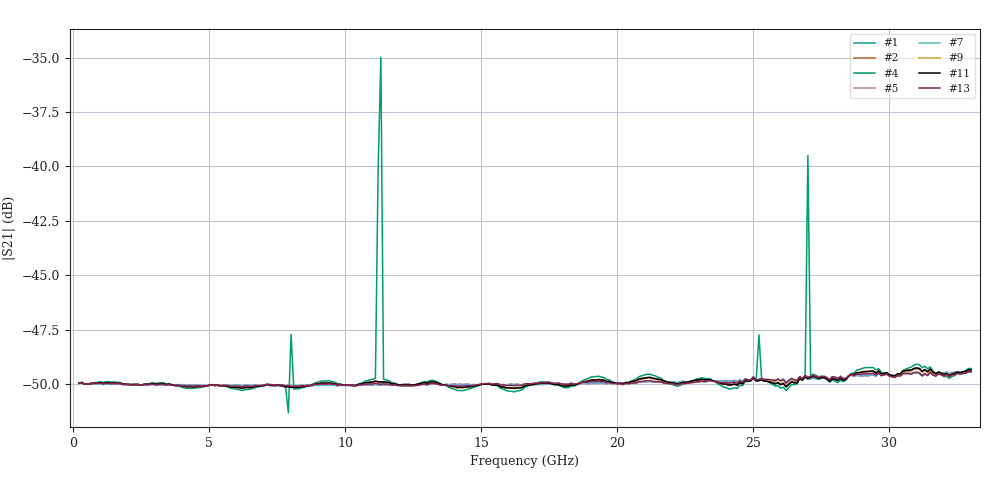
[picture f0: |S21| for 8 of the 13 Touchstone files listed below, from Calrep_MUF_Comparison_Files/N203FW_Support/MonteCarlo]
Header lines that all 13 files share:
# GHZ S RI R 50
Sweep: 200 MHz to 33 GHz
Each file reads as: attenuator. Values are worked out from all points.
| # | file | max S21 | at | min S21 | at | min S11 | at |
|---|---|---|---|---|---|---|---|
| 1 | N203FW_75.s2p | -49.43 dB | 32.5 GHz | -50.1 dB | 6.2 GHz | -47.6 dB | 2.4 GHz |
| 2 | N203FW_76.s2p | -49.26 dB | 31 GHz | -50.2 dB | 16.2 GHz | -47.0 dB | 2.5 GHz |
| 3 | N203FW_77.s2p | -49.40 dB | 31 GHz | -50.1 dB | 6.2 GHz | -47.3 dB | 2.4 GHz |
| 4 | N203FW_79.s2p | -34.98 dB | 11.3 GHz | -51.3 dB | 7.9 GHz | -48.2 dB | 700 MHz |
| 5 | N203FW_80.s2p | -49.42 dB | 32.5 GHz | -50.1 dB | 7.4 GHz | -48.0 dB | 2.3 GHz |
| 6 | N203FW_84.s2p | -49.45 dB | 32.5 GHz | -50.2 dB | 11.3 GHz | -48.8 dB | 2.3 GHz |
| 7 | N203FW_85.s2p | -49.42 dB | 32.5 GHz | -50.1 dB | 6.2 GHz | -47.8 dB | 2.3 GHz |
| 8 | N203FW_90.s2p | -49.42 dB | 32.5 GHz | -50.1 dB | 7.4 GHz | -48.0 dB | 2.3 GHz |
| 9 | N203FW_91.s2p | -49.30 dB | 31 GHz | -50.2 dB | 6.2 GHz | -47.3 dB | 2.5 GHz |
| 10 | N203FW_94.s2p | -49.45 dB | 32.5 GHz | -50.2 dB | 11.3 GHz | -48.5 dB | 2.3 GHz |
| 11 | N203FW_96.s2p | -49.26 dB | 31 GHz | -50.2 dB | 16.2 GHz | -47.2 dB | 2.5 GHz |
| 12 | N203FW_99.s2p | -35.45 dB | 11.3 GHz | -51.4 dB | 7.9 GHz | -48.6 dB | 800 MHz |
| 13 | N203FW_100.s2p | -49.43 dB | 32.9 GHz | -50.1 dB | 6.2 GHz | -47.4 dB | 2.4 GHz |
